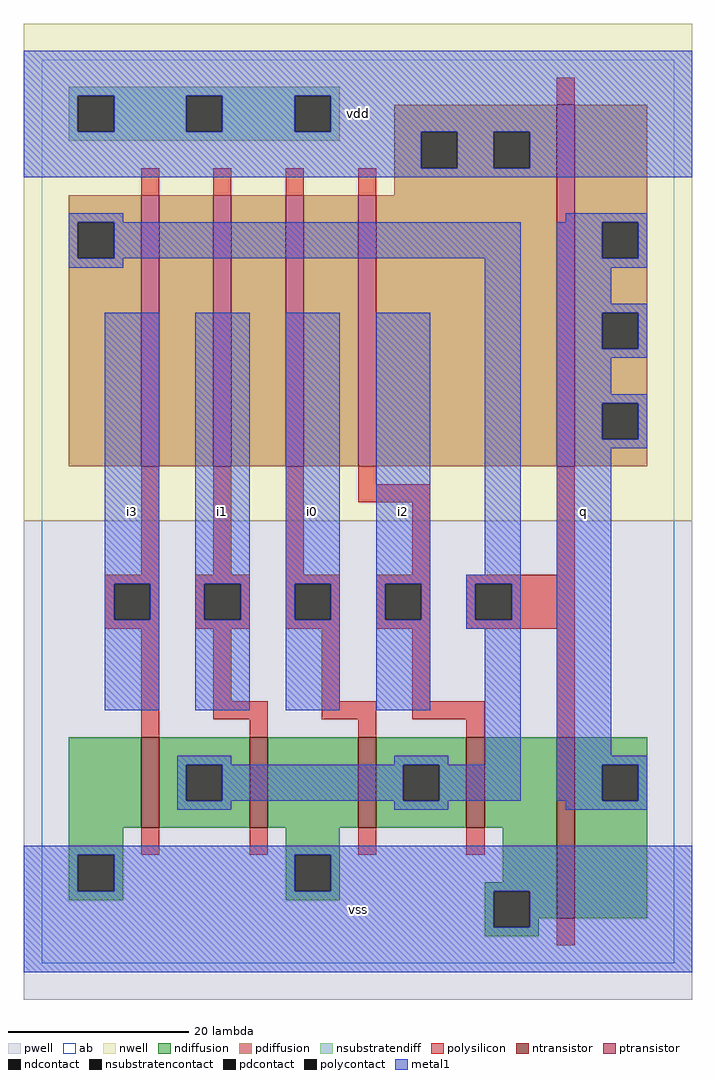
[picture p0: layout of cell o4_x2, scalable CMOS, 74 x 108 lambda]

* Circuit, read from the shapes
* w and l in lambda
.subckt o4_x2 i0 i1 i2 i3 q vdd vss
M1 n1 i3 vss VSUBS nfet w=10 l=2
M2 vss i1 n1 VSUBS nfet w=10 l=2
M3 n1 i0 vss VSUBS nfet w=10 l=2
M4 vss i2 n1 VSUBS nfet w=10 l=2
M5 q n1 vss VSUBS nfet w=20 l=2
M6 n2 i3 n1 vdd pfet w=30 l=2
M7 n3 i1 n2 vdd pfet w=30 l=2
M8 n4 i0 n3 vdd pfet w=30 l=2
M9 vdd i2 n4 vdd pfet w=30 l=2
M10 q n1 vdd vdd pfet w=40 l=2
.ends

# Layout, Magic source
magic
tech scmos
<< ab >>
rect 0 0 70 100
<< pwell >>
rect -2 -4 72 49
<< nwell >>
rect -2 49 72 104
<< polysilicon >>
rect 57 95 59 98
rect 11 85 13 88
rect 19 85 21 88
rect 27 85 29 88
rect 35 85 37 88
rect 11 43 13 55
rect 19 43 21 55
rect 27 43 29 55
rect 35 53 37 55
rect 35 51 43 53
rect 41 43 43 51
rect 57 43 59 55
rect 7 42 13 43
rect 7 38 8 42
rect 12 38 13 42
rect 7 37 13 38
rect 17 42 23 43
rect 17 38 18 42
rect 22 38 23 42
rect 17 37 23 38
rect 27 42 33 43
rect 27 38 28 42
rect 32 38 33 42
rect 27 37 33 38
rect 37 42 43 43
rect 37 38 38 42
rect 42 38 43 42
rect 37 37 43 38
rect 47 42 59 43
rect 47 38 48 42
rect 52 38 59 42
rect 47 37 59 38
rect 11 25 13 37
rect 19 29 21 37
rect 31 29 33 37
rect 41 29 43 37
rect 19 27 25 29
rect 31 27 37 29
rect 41 27 49 29
rect 23 25 25 27
rect 35 25 37 27
rect 47 25 49 27
rect 57 25 59 37
rect 11 12 13 15
rect 23 12 25 15
rect 35 12 37 15
rect 47 12 49 15
rect 57 2 59 5
<< ndiffusion >>
rect 3 15 11 25
rect 13 22 23 25
rect 13 18 16 22
rect 20 18 23 22
rect 13 15 23 18
rect 25 15 35 25
rect 37 22 47 25
rect 37 18 40 22
rect 44 18 47 22
rect 37 15 47 18
rect 49 15 57 25
rect 3 12 9 15
rect 27 12 33 15
rect 3 8 4 12
rect 8 8 9 12
rect 3 7 9 8
rect 27 8 28 12
rect 32 8 33 12
rect 51 9 57 15
rect 27 7 33 8
rect 49 8 57 9
rect 49 4 50 8
rect 54 5 57 8
rect 59 22 67 25
rect 59 18 62 22
rect 66 18 67 22
rect 59 5 67 18
rect 54 4 55 5
rect 49 3 55 4
<< pdiffusion >>
rect 39 92 57 95
rect 39 88 42 92
rect 46 88 50 92
rect 54 88 57 92
rect 39 85 57 88
rect 3 82 11 85
rect 3 78 4 82
rect 8 78 11 82
rect 3 55 11 78
rect 13 55 19 85
rect 21 55 27 85
rect 29 55 35 85
rect 37 55 57 85
rect 59 82 67 95
rect 59 78 62 82
rect 66 78 67 82
rect 59 72 67 78
rect 59 68 62 72
rect 66 68 67 72
rect 59 62 67 68
rect 59 58 62 62
rect 66 58 67 62
rect 59 55 67 58
<< metal1 >>
rect -2 96 72 101
rect -2 92 4 96
rect 8 92 16 96
rect 20 92 28 96
rect 32 92 72 96
rect -2 88 42 92
rect 46 88 50 92
rect 54 88 72 92
rect -2 87 72 88
rect 3 82 9 83
rect 58 82 67 83
rect 3 78 4 82
rect 8 78 53 82
rect 3 77 9 78
rect 7 42 13 72
rect 7 38 8 42
rect 12 38 13 42
rect 7 28 13 38
rect 17 42 23 72
rect 17 38 18 42
rect 22 38 23 42
rect 17 28 23 38
rect 27 42 33 72
rect 27 38 28 42
rect 32 38 33 42
rect 27 28 33 38
rect 37 42 43 72
rect 49 43 53 78
rect 37 38 38 42
rect 42 38 43 42
rect 37 28 43 38
rect 47 42 53 43
rect 47 38 48 42
rect 52 38 53 42
rect 47 37 53 38
rect 15 22 21 23
rect 39 22 45 23
rect 49 22 53 37
rect 15 18 16 22
rect 20 18 40 22
rect 44 18 53 22
rect 57 78 62 82
rect 66 78 67 82
rect 57 77 67 78
rect 57 73 63 77
rect 57 72 67 73
rect 57 68 62 72
rect 66 68 67 72
rect 57 67 67 68
rect 57 63 63 67
rect 57 62 67 63
rect 57 58 62 62
rect 66 58 67 62
rect 57 57 67 58
rect 57 23 63 57
rect 57 22 67 23
rect 57 18 62 22
rect 66 18 67 22
rect 15 17 21 18
rect 39 17 45 18
rect 58 17 67 18
rect -2 12 72 13
rect -2 8 4 12
rect 8 8 28 12
rect 32 8 72 12
rect -2 4 50 8
rect 54 4 72 8
rect -2 -1 72 4
<< ntransistor >>
rect 11 15 13 25
rect 23 15 25 25
rect 35 15 37 25
rect 47 15 49 25
rect 57 5 59 25
<< ptransistor >>
rect 11 55 13 85
rect 19 55 21 85
rect 27 55 29 85
rect 35 55 37 85
rect 57 55 59 95
<< polycontact >>
rect 8 38 12 42
rect 18 38 22 42
rect 28 38 32 42
rect 38 38 42 42
rect 48 38 52 42
<< ndcontact >>
rect 16 18 20 22
rect 40 18 44 22
rect 4 8 8 12
rect 28 8 32 12
rect 50 4 54 8
rect 62 18 66 22
<< pdcontact >>
rect 42 88 46 92
rect 50 88 54 92
rect 4 78 8 82
rect 62 78 66 82
rect 62 68 66 72
rect 62 58 66 62
<< nsubstratencontact >>
rect 4 92 8 96
rect 16 92 20 96
rect 28 92 32 96
<< nsubstratendiff >>
rect 3 96 33 97
rect 3 92 4 96
rect 8 92 16 96
rect 20 92 28 96
rect 32 92 33 96
rect 3 91 33 92
<< labels >>
rlabel metal1 10 50 10 50 6 i3
rlabel metal1 10 50 10 50 6 i3
rlabel metal1 30 50 30 50 6 i0
rlabel metal1 20 50 20 50 6 i1
rlabel metal1 20 50 20 50 6 i1
rlabel metal1 30 50 30 50 6 i0
rlabel metal1 35 6 35 6 6 vss
rlabel metal1 35 6 35 6 6 vss
rlabel metal1 40 50 40 50 6 i2
rlabel metal1 40 50 40 50 6 i2
rlabel metal1 35 94 35 94 6 vdd
rlabel metal1 35 94 35 94 6 vdd
rlabel metal1 60 50 60 50 6 q
rlabel metal1 60 50 60 50 6 q
<< end >>
